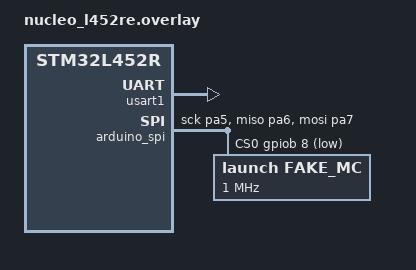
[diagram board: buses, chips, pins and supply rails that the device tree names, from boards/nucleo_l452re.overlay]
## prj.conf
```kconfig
CONFIG_GPIO=y
CONFIG_GPIO_SHELL=y
CONFIG_SPI=y
#CONFIG_SPI_SHELL=y

CONFIG_SPI_STM32_DMA=y
CONFIG_SPI_ASYNC=y
CONFIG_SHELL=y
CONFIG_SHELL_BACKEND_SERIAL=y


CONFIG_SPI_STM32_USE_HW_SS=n

CONFIG_LOG=y
#CONFIG_CLOCK_TICKS_PER_SEC=100000
CONFIG_SYS_CLOCK_TICKS_PER_SEC=100000
```

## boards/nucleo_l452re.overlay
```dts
#include <st/l4/stm32l452r(c-e)tx-pinctrl.dtsi>

/ {
	chosen{
		// zephyr,console = &usart1;
		// zephyr,shell-uart = &usart1;
	};
	aliases {
		mc = &fake_mc;
	};
};

&usart1{
	status = "okay";
};

&dma2{
	status = "okay";
};

&arduino_spi {
	status = "okay";
	pinctrl-0 = < &spi1_sck_pa5 &spi1_miso_pa6 &spi1_mosi_pa7>;

	// cs-gpios = <&gpioa 4 (GPIO_ACTIVE_LOW | GPIO_PULL_UP)>;
	cs-gpios = <&gpiob 8 (GPIO_ACTIVE_LOW | GPIO_PULL_UP)>;

	// dmas = <&dma2 4 3 0x20440 0x03>,
		//    <&dma2 3 3 0x20440 0x03>;
	// dma-names = "tx", "rx";

	fake_mc: fake_mc@0 {
		compatible = "launch,fake_mc";
		reg = <0>;
		status = "okay";
		spi-max-frequency = <1000000>;
		spi-cs-setup-delay-ns = <2000>;
		spi-cpha;
		spi-cpol;
	};
};
```

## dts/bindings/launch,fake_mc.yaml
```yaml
description: |
    fake motor controller

compatible: "launch,fake_mc"

include: [spi-device.yaml]
```

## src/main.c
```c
/*
 * Copyright (c) 2016 Intel Corporation
 *
 * SPDX-License-Identifier: Apache-2.0
 */

#include <stdio.h>
#include <zephyr/drivers/gpio.h>
#include <zephyr/drivers/spi.h>
#include <zephyr/kernel.h>
#include "structure.h"

/* 1000 msec = 1 sec */
#define SLEEP_TIME_MS 500

/* The devicetree node identifier for the "led0" alias. */

// const struct device *spi_periph_dev = DEVICE_DT_GET(DT_NODELABEL(arduino_spi));

#define SPI_OPERATION (SPI_OP_MODE_MASTER | SPI_WORD_SET(8) | SPI_MODE_CPOL | SPI_MODE_CPHA | SPI_TRANSFER_MSB)
const struct spi_dt_spec spidt = SPI_DT_SPEC_GET(DT_ALIAS(mc), SPI_OPERATION);

/*
 * A build error on this line means your board is unsupported.
 * See the sample documentation for information on how to fix this.
 */
#define SW0_NODE DT_ALIAS(sw0)
#if !DT_NODE_HAS_STATUS_OKAY(SW0_NODE)
#error "Unsupported board: sw0 devicetree alias is not defined"
#endif
static const struct gpio_dt_spec button = GPIO_DT_SPEC_GET_OR(SW0_NODE, gpios, {0});

static struct exposed_state st = {
    .uptime_ms = 1234,
    .status = 0,
    .system_fault = 0,
    .motor_fault = 0,
    .commanded_joint1_angle = 0, // motor: Shoulder yaw
    .commanded_joint2_angle = 0, // motor: Shoulder pitch
    .commanded_joint3_angle = 0, // motor: Elbow pitch
    .commanded_joint4_angle = 0, // servo: Wrist pitch
    .base_accel_x = 0,
    .base_accel_y = 0,
    .base_accel_z = 0,
    .current_joint1_angle = 0, // motor: Shoulder yaw
    .current_joint2_angle = 0, // motor: Shoulder pitch
    .current_joint3_angle = 0, // motor: Elbow pitch
    .accel1_x = 0,
    .accel1_y = 0,
    .accel1_z = 0,
    .accel2_y = 0,
    .accel2_x = 0,
    .accel2_z = 0,
    .m1_voltage = 0,
    .m1_current = 0,
    .m2_voltage = 0,
    .m2_current = 0,
    .m3_voltage = 0,
    .m3_current = 0,
    .uptime_of_last_base_accel_write = 0,
};

int main(void) {

    int ret;

    if (!device_is_ready(spidt.bus)) {
        printk("Spi not ready\n");
        return 0;
    }

    if (!gpio_is_ready_dt(&button)) {
        printk("Error: button device %s is not ready\n", button.port->name);
        return 0;
    }

    ret = gpio_pin_configure_dt(&button, GPIO_INPUT);
    if (ret != 0) {
        printk("Error %d: failed to configure %s pin %d\n", ret, button.port->name, button.pin);
        return 0;
    }

    uint8_t tx[4] = {0xa3};
    uint8_t rx[8] = {0};
    
    struct spi_buf tx_buf = {.buf = &tx, .len = sizeof(tx)};
    struct spi_buf rx_buf = {.buf = &rx, .len = sizeof(rx)};

    struct spi_buf_set tx_bufs = {.buffers = &tx_buf, .count = 1};
    struct spi_buf_set rx_bufs = {.buffers = &rx_buf, .count = 1}; // &rx_buf

    while (1) {
        int ret = 0;

        while (1) {
            int val = gpio_pin_get_dt(&button);
            if (val) {
                break;
            }
            k_msleep(10);
        }
        printk("transceiveing\n");

        // printk("transceiveing\n");
        // ret = spi_write_dt(&spidt, &tx_bufs);
        // k_usleep(400);
        // int ret2 = spi_read_dt(&spidt, &rx_bufs);
        int64_t uptime = k_uptime_get();
        uint8_t b = uptime  % 256;
        tx[0] = b;
        tx[1] = b;
        tx[2] = b;
        tx[3] = b;
        ret = spi_transceive_dt(&spidt, &tx_bufs, &rx_bufs);
        if (ret != 0) {
            printk("Ret: %d\n", ret);
        } else {
            printk("Uptime: %lld %08llx\n", uptime, uptime);
            printk("Txed: %02x %02x %02x %02x\n", tx[0], tx[1], tx[2], tx[3]);
            printk("Rxed: %02x %02x %02x %02x %02x %02x %02x %02x\n", rx[0], rx[1], rx[2], rx[3], rx[4], rx[5], rx[6], rx[7]);
        }
        // if (ret2 != 0) {
        // printk("Ret2: %d\n", ret);
        // } else {
        // }
        // ret = gpio_pin_set_dt(&led, false);

        k_msleep(50);
    }
    return 0;
}
```

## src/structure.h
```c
#include <stdint.h>
// operate off of and swap with spi handler to expose information to the spi bus
struct exposed_state {
    // general state
    uint32_t uptime_ms;
    uint8_t status;

    uint8_t system_fault;
    uint8_t motor_fault;

    // things that the pi sets
    int8_t commanded_joint1_angle; // motor: Shoulder yaw
    int8_t commanded_joint2_angle; // motor: Shoulder pitch
    int8_t commanded_joint3_angle; // motor: Elbow pitch
    int8_t commanded_joint4_angle; // servo: Wrist pitch

    int16_t base_accel_x;
    int16_t base_accel_y;
    int16_t base_accel_z;

    // telemetry
    uint8_t current_joint1_angle; // motor: Shoulder yaw
    uint8_t current_joint2_angle; // motor: Shoulder pitch
    uint8_t current_joint3_angle; // motor: Elbow pitch

    int16_t accel1_x;
    int16_t accel1_y;
    int16_t accel1_z;

    int16_t accel2_y;
    int16_t accel2_x;
    int16_t accel2_z;

    uint8_t m1_voltage;
    uint8_t m1_current;

    uint8_t m2_voltage;
    uint8_t m2_current;

    uint8_t m3_voltage;
    uint8_t m3_current;

    uint32_t uptime_of_last_base_accel_write;
};

enum Command {
    // internal use
    RunClockTick, // not emitted by spi interface, but sent down the same channel to make the main loop do things
    //
    Start,
    Stop,
    
    ReadStatusAndFault,
    ReadStatus,
    ReadSFault,
    ReadMFault,

    SetJointTargets, // set joint target angles (j1, j2, j3, j4 uint8)
    SetBaseAccel,

    ReadMotorPower = 0b00, // returns all 3 motors voltages and currents (m1v, m1c, m2v, m2c, m3v, m3c)
    ReadM1Power = 0b01,    // Returns m1 voltage and current
    ReadM2Power = 0b10,    // Returns m2 voltage and current
    ReadM3Power = 0b11,    // Returns m3 voltage and current

    ReadBaseAccel,
    ReadLink1Accel,
    ReadLink2Accel,
    ReadBaseAccelUpdateTime,

    ReadJointTargets = 0b100, // get joint target angles (j1, j2, j3, j4 uint8)
    ReadJ1Target,
    ReadJ2Target,
    ReadJ3Target,
    ReadJ4Target,

    SetMotorOCP,
    SetMotor1OCP,
    SetMotor2OCP,
    SetMotor3OCP,
};
```
